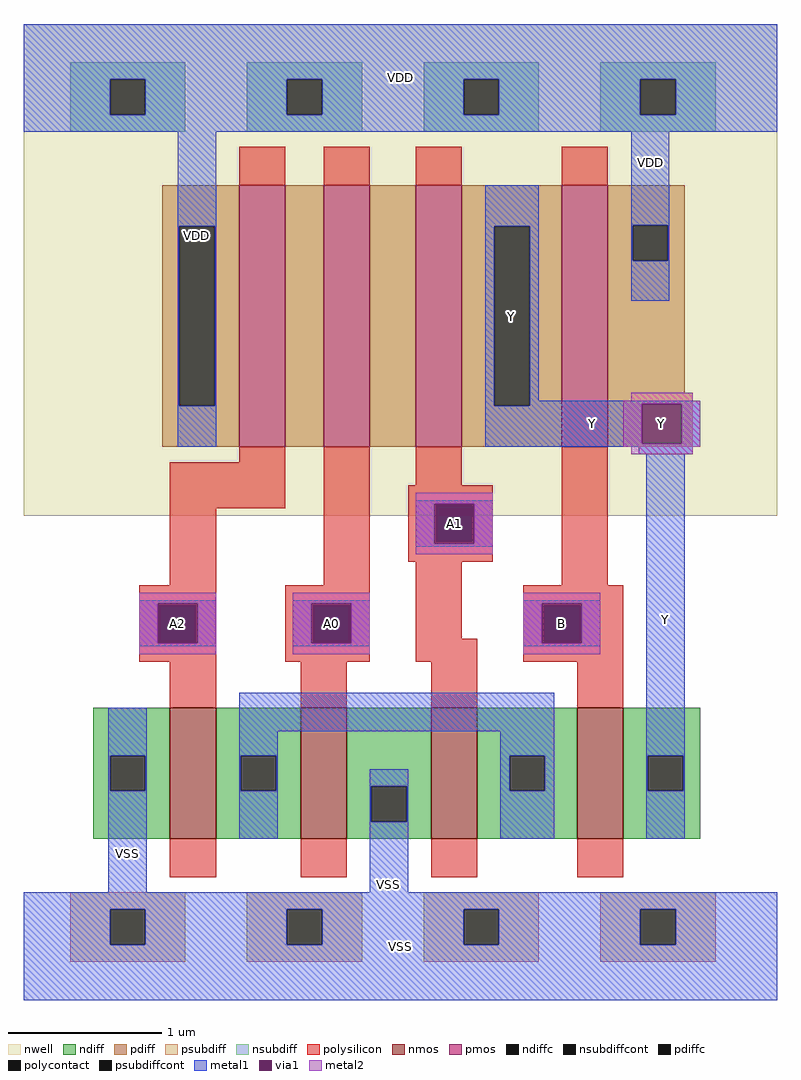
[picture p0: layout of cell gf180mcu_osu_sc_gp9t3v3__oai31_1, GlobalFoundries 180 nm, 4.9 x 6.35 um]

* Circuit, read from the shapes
.subckt gf180mcu_osu_sc_gp9t3v3__oai31_1 A0 A1 A2 B Y VDD VSS
XM1 n1 A2 VSS VSS nfet_03v3 w=0.85u l=0.3u
XM2 VSS A0 n1 VSS nfet_03v3 w=0.85u l=0.3u
XM3 n1 A1 VSS VSS nfet_03v3 w=0.85u l=0.3u
XM4 Y B n1 VSS nfet_03v3 w=0.85u l=0.3u
XM5 n2 A2 VDD VDD pfet_03v3 w=1.7u l=0.3u
XM6 n3 A0 n2 VDD pfet_03v3 w=1.7u l=0.3u
XM7 Y A1 n3 VDD pfet_03v3 w=1.7u l=0.3u
XM8 VDD B Y VDD pfet_03v3 w=1.7u l=0.3u
.ends

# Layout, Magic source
magic
tech gf180mcuA
magscale 1 10
<< nwell >>
rect 0 630 980 1270
<< nmos >>
rect 190 210 250 380
rect 360 210 420 380
rect 530 210 590 380
rect 720 210 780 380
<< pmos >>
rect 280 720 340 1060
rect 390 720 450 1060
rect 510 720 570 1060
rect 700 720 760 1060
<< ndiff >>
rect 90 318 190 380
rect 90 272 112 318
rect 158 272 190 318
rect 90 210 190 272
rect 250 318 360 380
rect 250 272 282 318
rect 328 272 360 318
rect 250 210 360 272
rect 420 278 530 380
rect 420 232 452 278
rect 498 232 530 278
rect 420 210 530 232
rect 590 318 720 380
rect 590 272 632 318
rect 678 272 720 318
rect 590 210 720 272
rect 780 318 880 380
rect 780 272 812 318
rect 858 272 880 318
rect 780 210 880 272
<< pdiff >>
rect 180 1007 280 1060
rect 180 773 202 1007
rect 248 773 280 1007
rect 180 720 280 773
rect 340 720 390 1060
rect 450 720 510 1060
rect 570 1007 700 1060
rect 570 773 612 1007
rect 658 773 700 1007
rect 570 720 700 773
rect 760 1008 860 1060
rect 760 962 792 1008
rect 838 962 860 1008
rect 760 790 860 962
rect 760 720 870 790
<< ndiffc >>
rect 112 272 158 318
rect 282 272 328 318
rect 452 232 498 278
rect 632 272 678 318
rect 812 272 858 318
<< pdiffc >>
rect 202 773 248 1007
rect 612 773 658 1007
rect 792 962 838 1008
<< psubdiff >>
rect 60 118 210 140
rect 60 72 112 118
rect 158 72 210 118
rect 60 50 210 72
rect 290 118 440 140
rect 290 72 342 118
rect 388 72 440 118
rect 290 50 440 72
rect 520 118 670 140
rect 520 72 572 118
rect 618 72 670 118
rect 520 50 670 72
rect 750 118 900 140
rect 750 72 802 118
rect 848 72 900 118
rect 750 50 900 72
<< nsubdiff >>
rect 60 1198 210 1220
rect 60 1152 112 1198
rect 158 1152 210 1198
rect 60 1130 210 1152
rect 290 1198 440 1220
rect 290 1152 342 1198
rect 388 1152 440 1198
rect 290 1130 440 1152
rect 520 1198 670 1220
rect 520 1152 572 1198
rect 618 1152 670 1198
rect 520 1130 670 1152
rect 750 1198 900 1220
rect 750 1152 802 1198
rect 848 1152 900 1198
rect 750 1130 900 1152
<< psubdiffcont >>
rect 112 72 158 118
rect 342 72 388 118
rect 572 72 618 118
rect 802 72 848 118
<< nsubdiffcont >>
rect 112 1152 158 1198
rect 342 1152 388 1198
rect 572 1152 618 1198
rect 802 1152 848 1198
<< polysilicon >>
rect 280 1060 340 1110
rect 390 1060 450 1110
rect 510 1060 570 1110
rect 700 1060 760 1110
rect 280 700 340 720
rect 190 640 340 700
rect 190 540 250 640
rect 390 540 450 720
rect 510 670 570 720
rect 500 643 610 670
rect 500 597 537 643
rect 583 597 610 643
rect 500 570 610 597
rect 150 513 250 540
rect 150 467 177 513
rect 223 467 250 513
rect 150 440 250 467
rect 340 513 450 540
rect 340 467 377 513
rect 423 467 450 513
rect 340 440 450 467
rect 510 470 570 570
rect 700 540 760 720
rect 650 513 780 540
rect 510 440 590 470
rect 650 467 677 513
rect 723 467 780 513
rect 650 440 780 467
rect 190 380 250 440
rect 360 380 420 440
rect 530 380 590 440
rect 720 380 780 440
rect 190 160 250 210
rect 360 160 420 210
rect 530 160 590 210
rect 720 160 780 210
<< polycontact >>
rect 537 597 583 643
rect 177 467 223 513
rect 377 467 423 513
rect 677 467 723 513
<< metal1 >>
rect 0 1198 980 1270
rect 0 1152 112 1198
rect 158 1152 342 1198
rect 388 1152 572 1198
rect 618 1152 802 1198
rect 848 1152 980 1198
rect 0 1130 980 1152
rect 200 1007 250 1130
rect 200 773 202 1007
rect 248 773 250 1007
rect 200 720 250 773
rect 600 1007 670 1060
rect 600 773 612 1007
rect 658 780 670 1007
rect 790 1008 840 1130
rect 790 962 792 1008
rect 838 962 840 1008
rect 790 910 840 962
rect 658 776 880 780
rect 658 773 804 776
rect 600 724 804 773
rect 856 724 880 776
rect 600 720 880 724
rect 800 710 870 720
rect 510 646 610 650
rect 510 594 534 646
rect 586 594 610 646
rect 510 590 610 594
rect 150 516 250 520
rect 150 464 174 516
rect 226 464 250 516
rect 150 460 250 464
rect 350 516 450 520
rect 350 464 374 516
rect 426 464 450 516
rect 350 460 450 464
rect 650 516 750 520
rect 650 464 674 516
rect 726 464 750 516
rect 650 460 750 464
rect 110 318 160 380
rect 110 272 112 318
rect 158 272 160 318
rect 110 140 160 272
rect 280 350 690 400
rect 280 318 330 350
rect 280 272 282 318
rect 328 272 330 318
rect 620 318 690 350
rect 280 210 330 272
rect 450 278 500 300
rect 450 232 452 278
rect 498 232 500 278
rect 450 140 500 232
rect 620 272 632 318
rect 678 272 690 318
rect 620 210 690 272
rect 810 318 860 710
rect 810 272 812 318
rect 858 272 860 318
rect 810 210 860 272
rect 0 118 980 140
rect 0 72 112 118
rect 158 72 342 118
rect 388 72 572 118
rect 618 72 802 118
rect 848 72 980 118
rect 0 0 980 72
<< via1 >>
rect 804 724 856 776
rect 534 643 586 646
rect 534 597 537 643
rect 537 597 583 643
rect 583 597 586 643
rect 534 594 586 597
rect 174 513 226 516
rect 174 467 177 513
rect 177 467 223 513
rect 223 467 226 513
rect 174 464 226 467
rect 374 513 426 516
rect 374 467 377 513
rect 377 467 423 513
rect 423 467 426 513
rect 374 464 426 467
rect 674 513 726 516
rect 674 467 677 513
rect 677 467 723 513
rect 723 467 726 513
rect 674 464 726 467
<< metal2 >>
rect 790 780 870 790
rect 780 776 880 780
rect 780 724 804 776
rect 856 724 880 776
rect 780 720 880 724
rect 790 710 870 720
rect 510 646 610 660
rect 510 594 534 646
rect 586 594 610 646
rect 510 580 610 594
rect 150 516 250 530
rect 150 464 174 516
rect 226 464 250 516
rect 150 450 250 464
rect 350 516 450 530
rect 350 464 374 516
rect 426 464 450 516
rect 350 450 450 464
rect 650 516 750 530
rect 650 464 674 516
rect 726 464 750 516
rect 650 450 750 464
<< labels >>
rlabel via1 s 374 464 426 516 4 A0
port 1 nsew signal input
rlabel via1 s 534 594 586 646 4 A1
port 2 nsew signal input
rlabel via1 s 174 464 226 516 4 A2
port 3 nsew signal input
rlabel via1 s 674 464 726 516 4 B
port 4 nsew signal input
rlabel via1 s 804 724 856 776 4 Y
port 5 nsew signal output
rlabel metal1 s 200 720 250 1270 4 VDD
port 6 nsew power bidirectional abutment
rlabel metal1 s 110 0 160 380 4 VSS
port 7 nsew ground bidirectional abutment
rlabel metal1 s 790 910 840 1270 1 VDD
port 6 nsew power bidirectional abutment
rlabel metal1 s 0 1130 980 1270 1 VDD
port 6 nsew power bidirectional abutment
rlabel metal1 s 450 0 500 300 1 VSS
port 7 nsew ground bidirectional abutment
rlabel metal1 s 0 0 980 140 1 VSS
port 7 nsew ground bidirectional abutment
rlabel metal2 s 350 450 450 530 1 A0
port 1 nsew signal input
rlabel metal1 s 350 460 450 520 1 A0
port 1 nsew signal input
rlabel metal2 s 510 580 610 660 1 A1
port 2 nsew signal input
rlabel metal1 s 510 590 610 650 1 A1
port 2 nsew signal input
rlabel metal2 s 150 450 250 530 1 A2
port 3 nsew signal input
rlabel metal1 s 150 460 250 520 1 A2
port 3 nsew signal input
rlabel metal2 s 650 450 750 530 1 B
port 4 nsew signal input
rlabel metal1 s 650 460 750 520 1 B
port 4 nsew signal input
rlabel metal2 s 790 710 870 790 1 Y
port 5 nsew signal output
rlabel metal2 s 780 720 880 780 1 Y
port 5 nsew signal output
rlabel metal1 s 600 720 670 1060 1 Y
port 5 nsew signal output
rlabel metal1 s 810 210 860 780 1 Y
port 5 nsew signal output
rlabel metal1 s 800 710 870 780 1 Y
port 5 nsew signal output
rlabel metal1 s 600 720 880 780 1 Y
port 5 nsew signal output
<< properties >>
string FIXED_BBOX 0 0 980 1270
string GDS_END 354798
string GDS_FILE $PDKPATH/libs.ref/gf180mcu_osu_sc_gp9t3v3/gds/gf180mcu_osu_sc_gp9t3v3.gds
string GDS_START 348764
string LEFclass CORE
string LEFsite gf180mcu_osu_sc_gp9t3v3
string LEFsymmetry X Y
<< end >>
